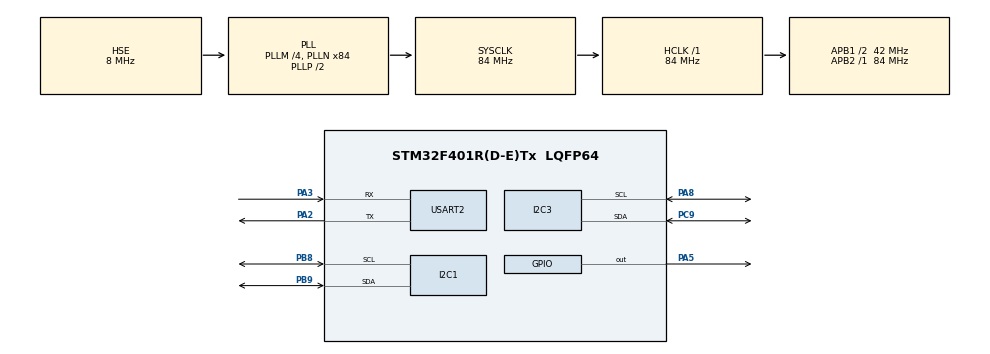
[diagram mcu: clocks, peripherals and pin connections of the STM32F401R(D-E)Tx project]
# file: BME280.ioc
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I2C1.I2C_Mode=I2C_Fast
Mcu.Family=STM32F4
Mcu.Name=STM32F401R(D-E)Tx
Mcu.Package=LQFP64
NVIC.I2C1_EV_IRQn=true\:0\:0\:false\:false\:true\:true
NVIC.PriorityGroup=NVIC_PRIORITYGROUP_4
PA13.Mode=Serial_Wire
PA13.Signal=SYS_JTMS-SWDIO
PA14.Mode=Serial_Wire
PA14.Signal=SYS_JTCK-SWCLK
PA2.Mode=Asynchronous
PA2.Signal=USART2_TX
PA3.Mode=Asynchronous
PA3.Signal=USART2_RX
PA5.Signal=GPIO_Output
PA8.Mode=I2C
PA8.Signal=I2C3_SCL
PB8.Mode=I2C
PB8.Signal=I2C1_SCL
PB9.Mode=I2C
PB9.Signal=I2C1_SDA
PC9.Mode=I2C
PC9.Signal=I2C3_SDA
PH0\ -\ OSC_IN.Mode=HSE-External-Clock-Source
PH0\ -\ OSC_IN.Signal=RCC_OSC_IN
PH1\ -\ OSC_OUT.Mode=HSE-External-Clock-Source
PH1\ -\ OSC_OUT.Signal=RCC_OSC_OUT
ProjectManager.HeapSize=0x200
ProjectManager.StackSize=0x400
ProjectManager.TargetToolchain=MDK-ARM V5
RCC.48MHZClocksFreq_Value=42000000
RCC.AHBFreq_Value=84000000
RCC.APB1CLKDivider=RCC_HCLK_DIV2
RCC.APB1Freq_Value=42000000
RCC.APB1TimFreq_Value=84000000
RCC.APB2Freq_Value=84000000
RCC.APB2TimFreq_Value=84000000
RCC.CortexFreq_Value=84000000
RCC.HCLKFreq_Value=84000000
RCC.HSE_VALUE=8000000
RCC.HSI_VALUE=16000000
RCC.LSE_VALUE=32768
RCC.PLLM=4
RCC.PLLN=84
RCC.PLLSourceVirtual=RCC_PLLSOURCE_HSE
RCC.SYSCLKFreq_VALUE=84000000
RCC.SYSCLKSource=RCC_SYSCLKSOURCE_PLLCLK
RCC.VCOOutputFreq_Value=168000000
USART2.VirtualMode=VM_ASYNC
board=BME280

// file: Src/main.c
/**
  ******************************************************************************
  * @file           : main.c
  * @brief          : Main program body
  ******************************************************************************
  ** This notice applies to any and all portions of this file
  * that are not between comment pairs USER CODE BEGIN and
  * USER CODE END. Other portions of this file, whether
  * inserted by the user or by software development tools
  * are owned by their respective copyright owners.
  *
  * COPYRIGHT(c) 2018 STMicroelectronics
  *
  * Redistribution and use in source and binary forms, with or without modification,
  * are permitted provided that the following conditions are met:
  *   1. Redistributions of source code must retain the above copyright notice,
  *      this list of conditions and the following disclaimer.
  *   2. Redistributions in binary form must reproduce the above copyright notice,
  *      this list of conditions and the following disclaimer in the documentation
  *      and/or other materials provided with the distribution.
  *   3. Neither the name of STMicroelectronics nor the names of its contributors
  *      may be used to endorse or promote products derived from this software
  *      without specific prior written permission.
  *
  * THIS SOFTWARE IS PROVIDED BY THE COPYRIGHT HOLDERS AND CONTRIBUTORS "AS IS"
  * AND ANY EXPRESS OR IMPLIED WARRANTIES, INCLUDING, BUT NOT LIMITED TO, THE
  * IMPLIED WARRANTIES OF MERCHANTABILITY AND FITNESS FOR A PARTICULAR PURPOSE ARE
  * DISCLAIMED. IN NO EVENT SHALL THE COPYRIGHT HOLDER OR CONTRIBUTORS BE LIABLE
  * FOR ANY DIRECT, INDIRECT, INCIDENTAL, SPECIAL, EXEMPLARY, OR CONSEQUENTIAL
  * DAMAGES (INCLUDING, BUT NOT LIMITED TO, PROCUREMENT OF SUBSTITUTE GOODS OR
  * SERVICES; LOSS OF USE, DATA, OR PROFITS; OR BUSINESS INTERRUPTION) HOWEVER
  * CAUSED AND ON ANY THEORY OF LIABILITY, WHETHER IN CONTRACT, STRICT LIABILITY,
  * OR TORT (INCLUDING NEGLIGENCE OR OTHERWISE) ARISING IN ANY WAY OUT OF THE USE
  * OF THIS SOFTWARE, EVEN IF ADVISED OF THE POSSIBILITY OF SUCH DAMAGE.
  *
  ******************************************************************************
  */
#include "main.h"
#include "stm32f4xx_hal.h"

/* USER CODE BEGIN Includes */
#include <string.h>
#include "BME280.h"
#include "lcd.h"
/* USER CODE END Includes */

I2C_HandleTypeDef hi2c1;
I2C_HandleTypeDef hi2c3;

UART_HandleTypeDef huart2;

/* USER CODE BEGIN PV */
/* Private variables ---------------------------------------------------------*/
char str1[100];
/* USER CODE END PV */

void SystemClock_Config(void);
static void MX_GPIO_Init(void);
static void MX_USART2_UART_Init(void);
static void MX_I2C1_Init(void);
static void MX_I2C3_Init(void);

/* USER CODE BEGIN PFP */
/* Private function prototypes -----------------------------------------------*/

/* USER CODE END PFP */

int main(void)
{
  /* USER CODE BEGIN 1 */
	float tf = 0.0f, pf = 0.0f, af = 0.0f, hf = 0.0f;
  /* USER CODE END 1 */

  /* MCU Configuration----------------------------------------------------------*/

  /* Reset of all peripherals, Initializes the Flash interface and the Systick. */
  HAL_Init();

  /* Configure the system clock */
  SystemClock_Config();

  /* Initialize all configured peripherals */
  MX_GPIO_Init();
  MX_USART2_UART_Init();
  MX_I2C1_Init();
  MX_I2C3_Init();
  /* USER CODE BEGIN 2 */
	LCD_ini();
	BME280_Init();
  /* USER CODE END 2 */

  /* Infinite loop */
  while (1)
  {

  /* USER CODE BEGIN 3 */
		tf = BME280_ReadTemperature();
		sprintf(str1, "Temperature: %.3f *C\r\n", tf);
		HAL_UART_Transmit(&huart2,(uint8_t*)str1,strlen(str1),0x1000);
		LCD_SetPos(0, 0);
		sprintf(str1, "%11.3f *C", tf);
		LCD_String(str1);
		pf = BME280_ReadPressure();
		sprintf(str1, "Pressure: %.3f Pa; %.3f hPa; %.3f mmHg\r\n", pf, pf/1000.0f, pf * 0.000750061683f);
		HAL_UART_Transmit(&huart2,(uint8_t*)str1,strlen(str1),0x1000);
		LCD_SetPos(0, 1);
		sprintf(str1, "%11.3f hPa", pf/1000.0f);
		LCD_String(str1);
		LCD_SetPos(0, 2);
		sprintf(str1, "%11.3f mmHg", pf * 0.000750061683f);
		LCD_String(str1);
		af = BME280_ReadAltitude(SEALEVELPRESSURE_PA);
		sprintf(str1, "Altitude: %.3f m\r\n", af);
		HAL_UART_Transmit(&huart2,(uint8_t*)str1,strlen(str1),0x1000);
		hf = BME280_ReadHumidity();
		sprintf(str1, "Humidity: %.3f %%\r\n", hf);
		HAL_UART_Transmit(&huart2,(uint8_t*)str1,strlen(str1),0x1000);
		LCD_SetPos(0, 3);
		sprintf(str1, "%7.3f %% %4.1f m", hf, af);
		LCD_String(str1);
		HAL_Delay(1000);
  }
  /* USER CODE END 3 */

}

void SystemClock_Config(void)
{

  RCC_OscInitTypeDef RCC_OscInitStruct;
  RCC_ClkInitTypeDef RCC_ClkInitStruct;

    /**Configure the main internal regulator output voltage
    */
  __HAL_RCC_PWR_CLK_ENABLE();

  __HAL_PWR_VOLTAGESCALING_CONFIG(PWR_REGULATOR_VOLTAGE_SCALE2);

    /**Initializes the CPU, AHB and APB busses clocks
    */
  RCC_OscInitStruct.OscillatorType = RCC_OSCILLATORTYPE_HSE;
  RCC_OscInitStruct.HSEState = RCC_HSE_BYPASS;
  RCC_OscInitStruct.PLL.PLLState = RCC_PLL_ON;
  RCC_OscInitStruct.PLL.PLLSource = RCC_PLLSOURCE_HSE;
  RCC_OscInitStruct.PLL.PLLM = 4;
  RCC_OscInitStruct.PLL.PLLN = 84;
  RCC_OscInitStruct.PLL.PLLP = RCC_PLLP_DIV2;
  RCC_OscInitStruct.PLL.PLLQ = 4;
  if (HAL_RCC_OscConfig(&RCC_OscInitStruct) != HAL_OK)
  {
    _Error_Handler(__FILE__, __LINE__);
  }

    /**Initializes the CPU, AHB and APB busses clocks
    */
  RCC_ClkInitStruct.ClockType = RCC_CLOCKTYPE_HCLK|RCC_CLOCKTYPE_SYSCLK
                              |RCC_CLOCKTYPE_PCLK1|RCC_CLOCKTYPE_PCLK2;
  RCC_ClkInitStruct.SYSCLKSource = RCC_SYSCLKSOURCE_PLLCLK;
  RCC_ClkInitStruct.AHBCLKDivider = RCC_SYSCLK_DIV1;
  RCC_ClkInitStruct.APB1CLKDivider = RCC_HCLK_DIV2;
  RCC_ClkInitStruct.APB2CLKDivider = RCC_HCLK_DIV1;

  if (HAL_RCC_ClockConfig(&RCC_ClkInitStruct, FLASH_LATENCY_2) != HAL_OK)
  {
    _Error_Handler(__FILE__, __LINE__);
  }

    /**Configure the Systick interrupt time
    */
  HAL_SYSTICK_Config(HAL_RCC_GetHCLKFreq()/1000);

    /**Configure the Systick
    */
  HAL_SYSTICK_CLKSourceConfig(SYSTICK_CLKSOURCE_HCLK);

  /* SysTick_IRQn interrupt configuration */
  HAL_NVIC_SetPriority(SysTick_IRQn, 0, 0);
}

/* I2C1 init function */
static void MX_I2C1_Init(void)
{

  hi2c1.Instance = I2C1;
  hi2c1.Init.ClockSpeed = 400000;
  hi2c1.Init.DutyCycle = I2C_DUTYCYCLE_2;
  hi2c1.Init.OwnAddress1 = 0;
  hi2c1.Init.AddressingMode = I2C_ADDRESSINGMODE_7BIT;
  hi2c1.Init.DualAddressMode = I2C_DUALADDRESS_DISABLE;
  hi2c1.Init.OwnAddress2 = 0;
  hi2c1.Init.GeneralCallMode = I2C_GENERALCALL_DISABLE;
  hi2c1.Init.NoStretchMode = I2C_NOSTRETCH_DISABLE;
  if (HAL_I2C_Init(&hi2c1) != HAL_OK)
  {
    _Error_Handler(__FILE__, __LINE__);
  }

}

/* I2C3 init function */
static void MX_I2C3_Init(void)
{

  hi2c3.Instance = I2C3;
  hi2c3.Init.ClockSpeed = 100000;
  hi2c3.Init.DutyCycle = I2C_DUTYCYCLE_2;
  hi2c3.Init.OwnAddress1 = 0;
  hi2c3.Init.AddressingMode = I2C_ADDRESSINGMODE_7BIT;
  hi2c3.Init.DualAddressMode = I2C_DUALADDRESS_DISABLE;
  hi2c3.Init.OwnAddress2 = 0;
  hi2c3.Init.GeneralCallMode = I2C_GENERALCALL_DISABLE;
  hi2c3.Init.NoStretchMode = I2C_NOSTRETCH_DISABLE;
  if (HAL_I2C_Init(&hi2c3) != HAL_OK)
  {
    _Error_Handler(__FILE__, __LINE__);
  }

}

/* USART2 init function */
static void MX_USART2_UART_Init(void)
{

  huart2.Instance = USART2;
  huart2.Init.BaudRate = 115200;
  huart2.Init.WordLength = UART_WORDLENGTH_8B;
  huart2.Init.StopBits = UART_STOPBITS_1;
  huart2.Init.Parity = UART_PARITY_NONE;
  huart2.Init.Mode = UART_MODE_TX_RX;
  huart2.Init.HwFlowCtl = UART_HWCONTROL_NONE;
  huart2.Init.OverSampling = UART_OVERSAMPLING_16;
  if (HAL_UART_Init(&huart2) != HAL_OK)
  {
    _Error_Handler(__FILE__, __LINE__);
  }

}

/** Configure pins as
        * Analog
        * Input
        * Output
        * EVENT_OUT
        * EXTI
*/
static void MX_GPIO_Init(void)
{

  GPIO_InitTypeDef GPIO_InitStruct;

  /* GPIO Ports Clock Enable */
  __HAL_RCC_GPIOH_CLK_ENABLE();
  __HAL_RCC_GPIOA_CLK_ENABLE();
  __HAL_RCC_GPIOC_CLK_ENABLE();
  __HAL_RCC_GPIOB_CLK_ENABLE();

  /*Configure GPIO pin Output Level */
  HAL_GPIO_WritePin(GPIOA, GPIO_PIN_5, GPIO_PIN_RESET);

  /*Configure GPIO pin : PA5 */
  GPIO_InitStruct.Pin = GPIO_PIN_5;
  GPIO_InitStruct.Mode = GPIO_MODE_OUTPUT_PP;
  GPIO_InitStruct.Pull = GPIO_NOPULL;
  GPIO_InitStruct.Speed = GPIO_SPEED_FREQ_LOW;
  HAL_GPIO_Init(GPIOA, &GPIO_InitStruct);

}

void _Error_Handler(char *file, int line)
{
  while(1)
  {
  }
}

/************************ (C) COPYRIGHT STMicroelectronics *****END OF FILE****/
